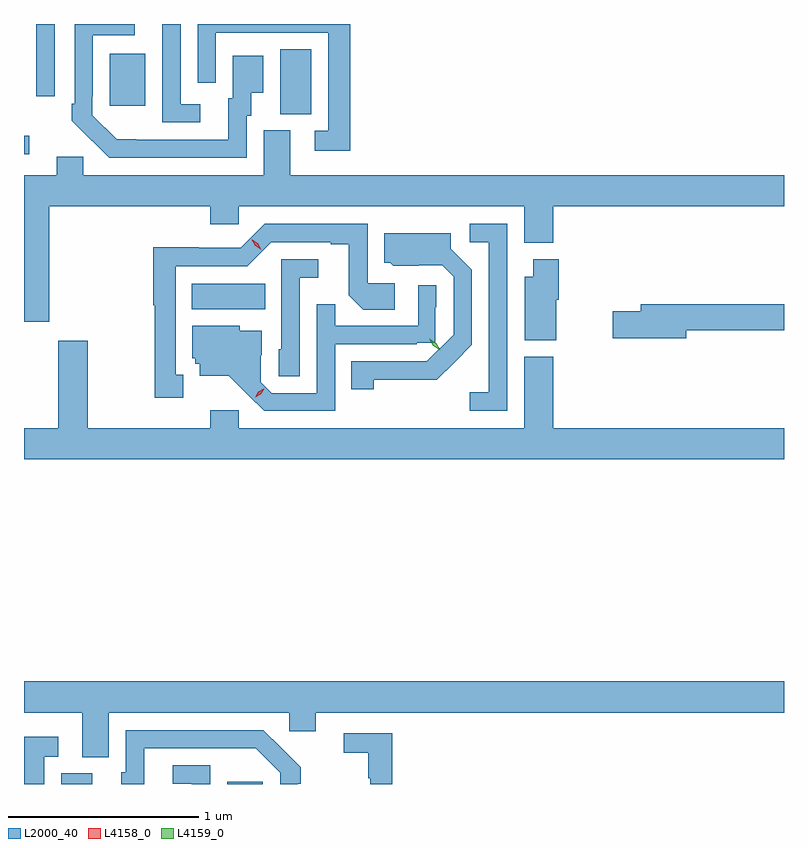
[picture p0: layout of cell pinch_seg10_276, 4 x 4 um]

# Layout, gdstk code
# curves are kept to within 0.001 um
import gdstk
lib = gdstk.Library(unit=1e-6, precision=1e-09)
def R(c, l, rs):  # rectangles x0, y0, x1, y1
    for r in rs: c.add(gdstk.rectangle(r[:2], r[2:], *l))
def P(c, l, *ps):  # polygons
    for p in ps: c.add(gdstk.Polygon(p, *l))
L2000_40 = (2000, 40)
L4158_0 = (4158, 0)
L4159_0 = (4159, 0)

pinch_seg10_276 = lib.new_cell('pinch_seg10_276')
R(pinch_seg10_276, L2000_40, [(496.544,1306.6,496.708,1306.656), (497.417,1306.6,497.605,1306.612), (497.231,1309.1,497.618,1309.234), (496.348,1309.914,496.375,1310.011), (497.696,1310.125,497.86,1310.468), (496.799,1310.169,496.987,1310.443), (496.413,1310.22,496.509,1310.6)])
P(pinch_seg10_276, L2000_40, [(497.275,1310.178),(497.172,1310.178),(497.172,1310.6),(497.075,1310.6),(497.075,1310.539),(497.076,1310.539),(497.076,1310.082),(497.275,1310.082)],
  [(498.065,1310.6),(497.263,1310.6),(497.263,1310.546),(497.262,1310.546),(497.262,1310.292),(497.358,1310.292),(497.358,1310.553),(497.949,1310.553),(497.949,1310.037),(497.877,1310.037),(497.877,1309.932),(498.065,1309.932)],
  [(497.52,1310.118),(497.545,1310.118),(497.545,1310.237),(497.608,1310.237),(497.608,1310.434),(497.447,1310.434),(497.447,1310.208),(497.423,1310.208),(497.423,1309.992),(496.836,1309.993),(496.707,1310.121),(496.707,1310.221),(496.71,1310.221),(496.71,1310.541),(496.93,1310.541),(496.93,1310.6),(496.614,1310.6),(496.614,1310.179),(496.599,1310.179),(496.599,1310.091),(496.796,1309.896),(497.52,1309.896)],
  [(496.48,1309.64),(497.327,1309.64),(497.327,1309.547),(497.478,1309.547),(497.478,1309.64),(498.98,1309.64),(498.98,1309.448),(499.133,1309.448),(499.133,1309.64),(500.348,1309.64),(500.348,1309.804),(497.749,1309.804),(497.749,1310.04),(497.609,1310.04),(497.609,1309.804),(496.659,1309.804),(496.659,1309.902),(496.52,1309.902),(496.52,1309.804),(496.348,1309.804),(496.348,1309.034),(496.48,1309.034)],
  [(498.891,1309.548),(498.693,1309.548),(498.693,1309.452),(498.795,1309.452),(498.795,1308.661),(498.693,1308.661),(498.693,1308.564),(498.891,1308.564)],
  [(497.185,1308.753),(497.146,1308.753),(497.146,1309.326),(497.523,1309.326),(497.649,1309.452),(497.963,1309.452),(497.963,1309.44),(498.057,1309.44),(498.057,1309.172),(498.133,1309.096),(498.298,1309.096),(498.298,1309.236),(498.156,1309.236),(498.156,1309.548),(497.616,1309.548),(497.49,1309.422),(497.268,1309.422),(497.268,1309.424),(497.028,1309.424),(497.028,1309.119),(497.035,1309.119),(497.035,1308.633),(497.185,1308.633)],
  [(498.189,1308.727),(498.521,1308.727),(498.705,1308.912),(498.705,1309.306),(498.595,1309.416),(498.595,1309.498),(498.245,1309.498),(498.245,1309.344),(498.276,1309.344),(498.292,1309.328),(498.549,1309.329),(498.609,1309.269),(498.609,1308.965),(498.469,1308.825),(498.07,1308.825),(498.07,1308.678),(498.189,1308.678)],
  [(499.15,1309.149),(499.163,1309.149),(499.163,1309.363),(499.028,1309.363),(499.028,1309.27),(498.983,1309.27),(498.983,1308.935),(499.15,1308.935)],
  [(497.799,1309.265),(497.896,1309.265),(497.896,1309.362),(497.703,1309.362),(497.703,1308.888),(497.688,1308.888),(497.688,1308.745),(497.799,1308.745)],
  [(497.985,1308.915),(498.416,1308.915),(498.416,1308.923),(498.512,1308.923),(498.512,1309.108),(498.519,1309.108),(498.519,1309.225),(498.422,1309.225),(498.422,1309.011),(497.987,1309.011),(497.987,1309.124),(497.889,1309.124),(497.889,1308.657),(497.652,1308.657),(497.595,1308.714),(497.595,1308.856),(497.599,1308.856),(497.599,1308.985),(497.484,1308.985),(497.484,1309.012),(497.234,1309.012),(497.234,1308.84),(497.25,1308.84),(497.25,1308.813),(497.273,1308.813),(497.273,1308.749),(497.425,1308.749),(497.612,1308.564),(497.985,1308.564)],
  [(499.834,1308.988),(500.348,1308.988),(500.348,1309.124),(499.595,1309.124),(499.595,1309.088),(499.446,1309.088),(499.446,1308.946),(499.834,1308.946)],
  [(500.348,1308.472),(499.133,1308.472),(499.133,1308.85),(498.98,1308.85),(498.98,1308.472),(497.478,1308.472),(497.478,1308.568),(497.327,1308.568),(497.327,1308.472),(496.683,1308.472),(496.683,1308.934),(496.528,1308.934),(496.528,1308.472),(496.348,1308.472),(496.348,1308.308),(500.348,1308.308)],
  [(496.795,1306.976),(497.745,1306.976),(497.745,1306.878),(497.884,1306.878),(497.884,1306.976),(500.348,1306.976),(500.348,1307.14),(496.348,1307.14),(496.348,1306.976),(496.655,1306.976),(496.655,1306.741),(496.795,1306.741)],
  [(496.981,1306.788),(497.569,1306.788),(497.697,1306.659),(497.697,1306.6),(497.805,1306.601),(497.805,1306.689),(497.608,1306.884),(496.884,1306.884),(496.884,1306.662),(496.859,1306.662),(496.859,1306.6),(496.981,1306.6)],
  [(498.287,1306.866),(498.03,1306.866),(498.03,1306.765),(498.159,1306.765),(498.159,1306.629),(498.17,1306.629),(498.17,1306.6),(498.287,1306.6)],
  [(496.455,1306.743),(496.528,1306.743),(496.528,1306.849),(496.348,1306.849),(496.348,1306.6),(496.455,1306.6)],
  [(497.328,1306.698),(497.13,1306.698),(497.13,1306.602),(497.232,1306.602),(497.232,1306.6),(497.328,1306.6)])
P(pinch_seg10_276, L4158_0, [(497.564,1308.636),(497.564,1308.636),(497.581,1308.665),(497.611,1308.681),(497.612,1308.681),(497.612,1308.68),(497.594,1308.651),(497.564,1308.636)],
  [(497.597,1309.413),(497.565,1309.432),(497.547,1309.464),(497.547,1309.465),(497.548,1309.465),(497.579,1309.446),(497.597,1309.413),(497.597,1309.413)])
P(pinch_seg10_276, L4159_0, [(498.538,1308.884),(498.503,1308.907),(498.482,1308.944),(498.482,1308.944),(498.482,1308.944),(498.517,1308.921),(498.538,1308.884),(498.538,1308.884)])

lib.write_gds('pinch_seg10_276.gds')
